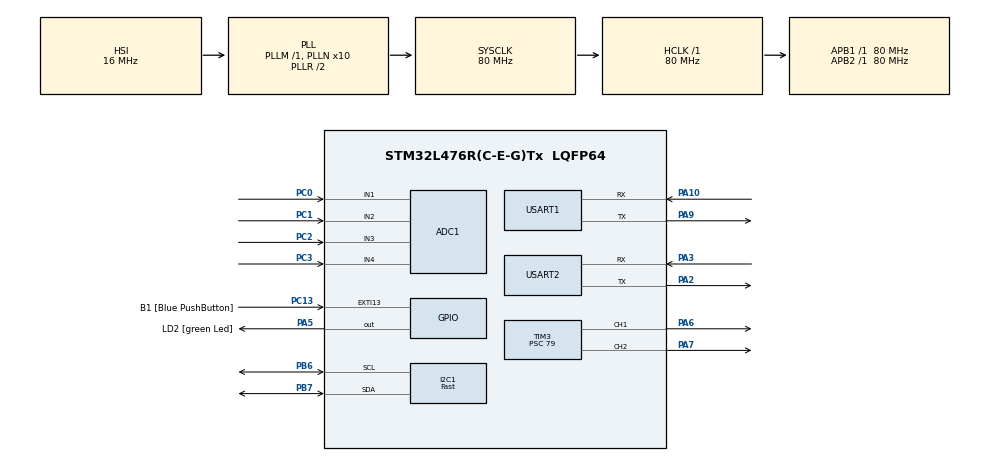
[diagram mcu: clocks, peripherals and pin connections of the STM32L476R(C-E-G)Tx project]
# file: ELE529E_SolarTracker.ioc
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ADC1.Channel-0\#ChannelRegularConversion=ADC_CHANNEL_1
ADC1.Channel-1\#ChannelRegularConversion=ADC_CHANNEL_2
ADC1.Channel-2\#ChannelRegularConversion=ADC_CHANNEL_3
ADC1.Channel-3\#ChannelRegularConversion=ADC_CHANNEL_4
ADC1.ClockPrescaler=ADC_CLOCK_SYNC_PCLK_DIV2
ADC1.ContinuousConvMode=ENABLE
ADC1.DMAContinuousRequests=ENABLE
ADC1.EOCSelection=ADC_EOC_SEQ_CONV
ADC1.NbrOfConversion=4
ADC1.NbrOfConversionFlag=1
ADC1.OffsetNumber-0\#ChannelRegularConversion=ADC_OFFSET_NONE
ADC1.OffsetNumber-1\#ChannelRegularConversion=ADC_OFFSET_NONE
ADC1.OffsetNumber-2\#ChannelRegularConversion=ADC_OFFSET_NONE
ADC1.OffsetNumber-3\#ChannelRegularConversion=ADC_OFFSET_NONE
ADC1.Rank-0\#ChannelRegularConversion=1
ADC1.Rank-1\#ChannelRegularConversion=2
ADC1.Rank-2\#ChannelRegularConversion=3
ADC1.Rank-3\#ChannelRegularConversion=4
ADC1.SamplingTime-0\#ChannelRegularConversion=ADC_SAMPLETIME_640CYCLES_5
ADC1.SamplingTime-1\#ChannelRegularConversion=ADC_SAMPLETIME_640CYCLES_5
ADC1.SamplingTime-2\#ChannelRegularConversion=ADC_SAMPLETIME_640CYCLES_5
ADC1.SamplingTime-3\#ChannelRegularConversion=ADC_SAMPLETIME_640CYCLES_5
ADC1.master=1
Dma.ADC1.0.Direction=DMA_PERIPH_TO_MEMORY
Dma.ADC1.0.Instance=DMA1_Channel1
Dma.ADC1.0.MemDataAlignment=DMA_MDATAALIGN_HALFWORD
Dma.ADC1.0.MemInc=DMA_MINC_ENABLE
Dma.ADC1.0.Mode=DMA_CIRCULAR
Dma.ADC1.0.PeriphDataAlignment=DMA_PDATAALIGN_HALFWORD
Dma.ADC1.0.PeriphInc=DMA_PINC_DISABLE
Dma.ADC1.0.Priority=DMA_PRIORITY_LOW
Dma.Request0=ADC1
FREERTOS.Mutexes01=I2C_Mutex,Dynamic,NULL,Available;UART_Mutex,Dynamic,NULL,Available;LDR_Data_Mutex,Dynamic,NULL,Available
FREERTOS.Tasks01=defaultTask,0,128,StartDefaultTask,Default,NULL,Dynamic,NULL,NULL;DataAcqTask,0,128,StartTask02,Default,NULL,Dynamic,NULL,NULL;ControlTask,0,128,StartTask03,Default,NULL,Dynamic,NULL,NULL;CommTask,0,128,StartTask04,Default,NULL,Dynamic,NULL,NULL
FREERTOS.configUSE_NEWLIB_REENTRANT=1
I2C1.I2C_Speed_Mode=I2C_Fast
I2C1.Timing=0x00F12981
Mcu.Family=STM32L4
Mcu.Name=STM32L476R(C-E-G)Tx
Mcu.Package=LQFP64
NVIC.DMA1_Channel1_IRQn=true\:5\:0\:false\:false\:true\:true\:false\:true\:true
NVIC.PriorityGroup=NVIC_PRIORITYGROUP_4
NVIC.TIM6_DAC_IRQn=true\:15\:0\:false\:false\:true\:false\:false\:true\:true
NVIC.TimeBase=TIM6_DAC_IRQn
NVIC.TimeBaseIP=TIM6
PA0.Signal=ADCx_IN5
PA1.Signal=ADCx_IN6
PA10.Mode=Asynchronous
PA10.Signal=USART1_RX
PA13\ (JTMS-SWDIO).GPIO_Label=TMS
PA13\ (JTMS-SWDIO).Mode=Serial_Wire
PA13\ (JTMS-SWDIO).Signal=SYS_JTMS-SWDIO
PA14\ (JTCK-SWCLK).GPIO_Label=TCK
PA14\ (JTCK-SWCLK).Mode=Serial_Wire
PA14\ (JTCK-SWCLK).Signal=SYS_JTCK-SWCLK
PA2.Mode=Asynchronous
PA2.Signal=USART2_TX
PA3.Mode=Asynchronous
PA3.Signal=USART2_RX
PA5.GPIO_Label=LD2 [green Led]
PA5.GPIO_ModeDefaultOutputPP=GPIO_MODE_OUTPUT_PP
PA5.GPIO_PuPd=GPIO_NOPULL
PA5.GPIO_Speed=GPIO_SPEED_FREQ_LOW
PA5.Signal=GPIO_Output
PA6.Signal=S_TIM3_CH1
PA7.Signal=S_TIM3_CH2
PA9.Mode=Asynchronous
PA9.Signal=USART1_TX
PB3\ (JTDO-TRACESWO).GPIO_Label=SWO
PB3\ (JTDO-TRACESWO).Signal=SYS_JTDO-SWO
PB6.Mode=I2C
PB6.Signal=I2C1_SCL
PB7.Mode=I2C
PB7.Signal=I2C1_SDA
PC0.Signal=ADCx_IN1
PC1.Signal=ADCx_IN2
PC13.GPIO_Label=B1 [Blue PushButton]
PC13.GPIO_ModeDefaultEXTI=GPIO_MODE_IT_FALLING
PC13.GPIO_PuPd=GPIO_NOPULL
PC13.Signal=GPXTI13
PC14-OSC32_IN\ (PC14).Mode=LSE-External-Oscillator
PC14-OSC32_IN\ (PC14).Signal=RCC_OSC32_IN
PC15-OSC32_OUT\ (PC15).Mode=LSE-External-Oscillator
PC15-OSC32_OUT\ (PC15).Signal=RCC_OSC32_OUT
PC2.Signal=ADCx_IN3
PC3.Signal=ADCx_IN4
PH0-OSC_IN\ (PH0).Signal=RCC_OSC_IN
PH1-OSC_OUT\ (PH1).Signal=RCC_OSC_OUT
ProjectManager.HeapSize=0x200
ProjectManager.StackSize=0x400
ProjectManager.TargetToolchain=STM32CubeIDE
RCC.ADCFreq_Value=64000000
RCC.AHBFreq_Value=80000000
RCC.APB1Freq_Value=80000000
RCC.APB1TimFreq_Value=80000000
RCC.APB2Freq_Value=80000000
RCC.APB2TimFreq_Value=80000000
RCC.CortexFreq_Value=80000000
RCC.HCLKFreq_Value=80000000
RCC.HSE_VALUE=8000000
RCC.HSI_VALUE=16000000
RCC.MSI_VALUE=4000000
RCC.PLLN=10
RCC.PLLSourceVirtual=RCC_PLLSOURCE_HSI
RCC.PREFETCH_ENABLE=1
RCC.SYSCLKFreq_VALUE=80000000
RCC.SYSCLKSource=RCC_SYSCLKSOURCE_PLLCLK
RCC.USBFreq_Value=64000000
RCC.VCOOutputFreq_Value=160000000
SH.ADCx_IN1.0=ADC1_IN1,IN1-Single-Ended
SH.ADCx_IN2.0=ADC1_IN2,IN2-Single-Ended
SH.ADCx_IN3.0=ADC1_IN3,IN3-Single-Ended
SH.ADCx_IN4.0=ADC1_IN4,IN4-Single-Ended
SH.ADCx_IN5.0=ADC1_IN5
SH.ADCx_IN6.0=ADC1_IN6
SH.S_TIM3_CH1.0=TIM3_CH1,PWM Generation1 CH1
SH.S_TIM3_CH2.0=TIM3_CH2,PWM Generation2 CH2
TIM2.Period=19999
TIM2.Prescaler=79
TIM3.Channel-PWM\ Generation1\ CH1=TIM_CHANNEL_1
TIM3.Channel-PWM\ Generation2\ CH2=TIM_CHANNEL_2
TIM3.Period=19999
TIM3.Prescaler=79
USART1.VirtualMode-Asynchronous=VM_ASYNC
USART2.VirtualMode-Asynchronous=VM_ASYNC
VP_FREERTOS_VS_CMSIS_V1.Mode=CMSIS_V1
VP_IWDG_VS_IWDG.Mode=IWDG_Activate
VP_SYS_VS_tim6.Mode=TIM6
VP_TIM2_VS_ClockSourceINT.Mode=Internal
VP_TIM3_VS_ClockSourceINT.Mode=Internal
board=NUCLEO-L476RG

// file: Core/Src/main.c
/* USER CODE BEGIN Header */
/**
 ******************************************************************************
 * @file           : main.c
 * @brief          : Main program body
 ******************************************************************************
 * @attention
 *
 * Copyright (c) 2026 STMicroelectronics.
 * All rights reserved.
 *
 * This software is licensed under terms that can be found in the LICENSE file
 * in the root directory of this software component.
 * If no LICENSE file comes with this software, it is provided AS-IS.
 *
 ******************************************************************************
 */
/* USER CODE END Header */
#include "main.h"
#include "cmsis_os.h"
#include "adc.h"
#include "dma.h"
#include "i2c.h"
#include "iwdg.h"
#include "tim.h"
#include "usart.h"
#include "gpio.h"

/* USER CODE BEGIN Includes */
#include <stdlib.h>  // abs() fonksiyonu için
#include "filter.h"
/* USER CODE END Includes */

/* USER CODE BEGIN PV */
uint16_t ldr_values[4]; 		  // 4 LDR verisi burada saklanacak
float filtered_ldr[4] = { 0 };    // Filtrelenmiş temiz veriler
float alpha = 0.1f;               // Filtre katsayısı (0.0 ile 1.0 arası)
uint16_t servo_h = 90; 			  // Yatay servo başlangıç açısı (90 derece)
uint16_t servo_v = 90; 			  // Dikey servo başlangıç açısı (90 derece)
uint16_t ldr_raw_values[4];
uint8_t pc_rx_byte;

extern float system_voltage;

/* USER CODE END PV */

void SystemClock_Config(void);
void MX_FREERTOS_Init(void);

int main(void)
{

  /* MCU Configuration--------------------------------------------------------*/

  /* Reset of all peripherals, Initializes the Flash interface and the Systick. */
  HAL_Init();

  /* Configure the system clock */
  SystemClock_Config();

  /* Initialize all configured peripherals */
  MX_GPIO_Init();
  MX_DMA_Init();
  MX_ADC1_Init();
  MX_TIM2_Init();
  MX_I2C1_Init();
  MX_IWDG_Init();
  MX_USART1_UART_Init();
  MX_USART2_UART_Init();
  MX_TIM3_Init();
  /* USER CODE BEGIN 2 */
	HAL_ADC_Start_DMA(&hadc1, (uint32_t*)ldr_values, 4); //ADC1'i başlat, 4 kanalı sırayla oku ve bu değerleri ldr_values dizisine otomatik olarak yaz.
	HAL_TIM_PWM_Start(&htim3, TIM_CHANNEL_1); // Yatay Servo PWM Başlat
	HAL_TIM_PWM_Start(&htim3, TIM_CHANNEL_2); // Dikey Servo PWM Başlat
  /* USER CODE END 2 */

  /* Call init function for freertos objects (in cmsis_os2.c) */
  MX_FREERTOS_Init();

  /* Start scheduler */
  osKernelStart();

  /* We should never get here as control is now taken by the scheduler */

  /* Infinite loop */
	while (1) {

	}
}

void SystemClock_Config(void)
{
  RCC_OscInitTypeDef RCC_OscInitStruct = {0};
  RCC_ClkInitTypeDef RCC_ClkInitStruct = {0};

  /** Configure the main internal regulator output voltage
  */
  if (HAL_PWREx_ControlVoltageScaling(PWR_REGULATOR_VOLTAGE_SCALE1) != HAL_OK)
  {
    Error_Handler();
  }

  /** Initializes the RCC Oscillators according to the specified parameters
  * in the RCC_OscInitTypeDef structure.
  */
  RCC_OscInitStruct.OscillatorType = RCC_OSCILLATORTYPE_HSI|RCC_OSCILLATORTYPE_LSI;
  RCC_OscInitStruct.HSIState = RCC_HSI_ON;
  RCC_OscInitStruct.HSICalibrationValue = RCC_HSICALIBRATION_DEFAULT;
  RCC_OscInitStruct.LSIState = RCC_LSI_ON;
  RCC_OscInitStruct.PLL.PLLState = RCC_PLL_ON;
  RCC_OscInitStruct.PLL.PLLSource = RCC_PLLSOURCE_HSI;
  RCC_OscInitStruct.PLL.PLLM = 1;
  RCC_OscInitStruct.PLL.PLLN = 10;
  RCC_OscInitStruct.PLL.PLLP = RCC_PLLP_DIV7;
  RCC_OscInitStruct.PLL.PLLQ = RCC_PLLQ_DIV2;
  RCC_OscInitStruct.PLL.PLLR = RCC_PLLR_DIV2;
  if (HAL_RCC_OscConfig(&RCC_OscInitStruct) != HAL_OK)
  {
    Error_Handler();
  }

  /** Initializes the CPU, AHB and APB buses clocks
  */
  RCC_ClkInitStruct.ClockType = RCC_CLOCKTYPE_HCLK|RCC_CLOCKTYPE_SYSCLK
                              |RCC_CLOCKTYPE_PCLK1|RCC_CLOCKTYPE_PCLK2;
  RCC_ClkInitStruct.SYSCLKSource = RCC_SYSCLKSOURCE_PLLCLK;
  RCC_ClkInitStruct.AHBCLKDivider = RCC_SYSCLK_DIV1;
  RCC_ClkInitStruct.APB1CLKDivider = RCC_HCLK_DIV1;
  RCC_ClkInitStruct.APB2CLKDivider = RCC_HCLK_DIV1;

  if (HAL_RCC_ClockConfig(&RCC_ClkInitStruct, FLASH_LATENCY_4) != HAL_OK)
  {
    Error_Handler();
  }
}

void HAL_TIM_PeriodElapsedCallback(TIM_HandleTypeDef *htim)
{
  if (htim->Instance == TIM6)
  {
    HAL_IncTick();
  }
}

void Error_Handler(void)
{
	__disable_irq();
	while (1) {
	}
}

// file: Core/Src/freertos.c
/* USER CODE BEGIN Header */
/**
 ******************************************************************************
 * File Name          : freertos.c
 * Description        : Code for freertos applications
 ******************************************************************************
 * @attention
 *
 * Copyright (c) 2026 STMicroelectronics.
 * All rights reserved.
 *
 * This software is licensed under terms that can be found in the LICENSE file
 * in the root directory of this software component.
 * If no LICENSE file comes with this software, it is provided AS-IS.
 *
 ******************************************************************************
 */
/* USER CODE END Header */

#include "FreeRTOS.h"
#include "task.h"
#include "main.h"
#include "cmsis_os.h"

/* USER CODE BEGIN Includes */
#include "filter.h"
#include "ina219.h"
#include "esp8266.h"
#include "usart.h"
#include <string.h>
extern IWDG_HandleTypeDef hiwdg;
#include <stdio.h> // sprintf için
#include <math.h> // fabs() mutlak değer fonksiyonu için eklendi
/* USER CODE END Includes */

/* USER CODE BEGIN Variables */
// LDR DMA Okuma Tamponu (CubeMX'te Data Width: Half Word seçtiğimiz için uint16_t)
extern uint16_t ldr_values[4];

// Tasklar arası paylaşılacak filtrelenmiş veriler
float ldr_filtered[4] = { 0.0f, 0.0f, 0.0f, 0.0f };

// Güç tüketimi verileri
float system_voltage = 0.0f;
float system_current = 0.0f;

// Watchdog timer (IWDG) referansı
extern IWDG_HandleTypeDef hiwdg;

// Servo Motor Timer referansı (Örn: TIM2. Kendi konfigürasyonunuza göre değiştirin)
extern TIM_HandleTypeDef htim3;

/* USER CODE END Variables */

// Veri güvenliği için Mutex handle'ları
osThreadId defaultTaskHandle;
osThreadId DataAcqTaskHandle;
osThreadId ControlTaskHandle;
osThreadId CommTaskHandle;
osMutexId I2C_MutexHandle;
osMutexId UART_MutexHandle;
osMutexId LDR_Data_MutexHandle;

void StartDefaultTask(void const * argument);
void StartTask02(void const * argument);
void StartTask03(void const * argument);
void StartTask04(void const * argument);

void MX_FREERTOS_Init(void); /* (MISRA C 2004 rule 8.1) */

/* GetIdleTaskMemory prototype (linked to static allocation support) */
void vApplicationGetIdleTaskMemory( StaticTask_t **ppxIdleTaskTCBBuffer, StackType_t **ppxIdleTaskStackBuffer, uint32_t *pulIdleTaskStackSize );

/* USER CODE BEGIN GET_IDLE_TASK_MEMORY */
static StaticTask_t xIdleTaskTCBBuffer;
static StackType_t xIdleStack[configMINIMAL_STACK_SIZE];

void vApplicationGetIdleTaskMemory(StaticTask_t **ppxIdleTaskTCBBuffer,
		StackType_t **ppxIdleTaskStackBuffer, uint32_t *pulIdleTaskStackSize) {
	*ppxIdleTaskTCBBuffer = &xIdleTaskTCBBuffer;
	*ppxIdleTaskStackBuffer = &xIdleStack[0];
	*pulIdleTaskStackSize = configMINIMAL_STACK_SIZE;
	/* place for user code */
}
/* USER CODE END GET_IDLE_TASK_MEMORY */

void MX_FREERTOS_Init(void) {
  /* Create the mutex(es) */
  /* definition and creation of I2C_Mutex */
  osMutexDef(I2C_Mutex);
  I2C_MutexHandle = osMutexCreate(osMutex(I2C_Mutex));

  /* definition and creation of UART_Mutex */
  osMutexDef(UART_Mutex);
  UART_MutexHandle = osMutexCreate(osMutex(UART_Mutex));

  /* definition and creation of LDR_Data_Mutex */
  osMutexDef(LDR_Data_Mutex);
  LDR_Data_MutexHandle = osMutexCreate(osMutex(LDR_Data_Mutex));

  /* Create the thread(s) */
  /* definition and creation of defaultTask */
  osThreadDef(defaultTask, StartDefaultTask, osPriorityNormal, 0, 128);
  defaultTaskHandle = osThreadCreate(osThread(defaultTask), NULL);

  /* definition and creation of DataAcqTask */
  osThreadDef(DataAcqTask, StartTask02, osPriorityNormal, 0, 128);
  DataAcqTaskHandle = osThreadCreate(osThread(DataAcqTask), NULL);

  /* definition and creation of ControlTask */
  osThreadDef(ControlTask, StartTask03, osPriorityNormal, 0, 128);
  ControlTaskHandle = osThreadCreate(osThread(ControlTask), NULL);

  /* definition and creation of CommTask */
  osThreadDef(CommTask, StartTask04, osPriorityNormal, 0, 128);
  CommTaskHandle = osThreadCreate(osThread(CommTask), NULL);

}

void StartDefaultTask(void const * argument)
{
  /* USER CODE BEGIN StartDefaultTask */
	/* Infinite loop */
	for (;;) {
		// Tüm tasklar "hayattayım" bayrağı gönderdi mi kontrolü yapılabilir.
		// Şimdilik en azından tek bir güvenilir noktadan besleyin:
		HAL_IWDG_Refresh(&hiwdg);

		// Memory Optimization: Stack kullanımını izle (Hoca'nın istediği analiz)
		// uint32_t freeStack = uxTaskGetStackHighWaterMark(DataAcqTaskHandle);

		osDelay(100);
	}
  /* USER CODE END StartDefaultTask */
}

void StartTask02(void const * argument)
{
  /* USER CODE BEGIN StartTask02 */

    static uint32_t counter = 0;
    if (counter++ % 100 == 0) {
        char msg[] = "Task02 alive\r\n";
        HAL_UART_Transmit(&huart2, (uint8_t*)msg, strlen(msg), 100);
    }

    static int test_val = 0;

    INA219_Open(&hi2c1);
	/* Infinite loop */
	for (;;) {
		// 1. I2C Okuması (Güneş Paneli Voltajı)
		    if (osMutexWait(I2C_MutexHandle, 10) == osOK) {
		        // Senin sürücün IOCTL kullanıyor:
		        INA219_Ioctl(INA219_IOCTL_GET_VOLTAGE, &system_voltage);
		        osMutexRelease(I2C_MutexHandle);
		    }

		    // 2. LDR Veri İşleme
		    if (osMutexWait(LDR_Data_MutexHandle, 10) == osOK) {
		        for (int i = 0; i < 4; i++) {
		            ldr_filtered[i] = apply_adaptive_ema_filter((float)ldr_values[i], ldr_filtered[i]);
		        }
		        osMutexRelease(LDR_Data_MutexHandle);
		    }
		    osDelay(50);
	}

  /* USER CODE END StartTask02 */
}

void StartTask03(void const * argument)
{
  /* USER CODE BEGIN StartTask03 */

	// PWM Sinyallerini Başlat
	HAL_TIM_PWM_Start(&htim3, TIM_CHANNEL_1);
	HAL_TIM_PWM_Start(&htim3, TIM_CHANNEL_2);

	// Servoların başlangıç açıları
	uint32_t servo_pan = 1500;
	uint32_t servo_tilt = 1500;

	// DİKKAT: Motorlar ışığa çok daha kolay tepki versin diye eşik 20'ye düşürüldü!
	const float ERROR_THRESHOLD = 20.0f;

	/* Infinite loop */
	for (;;) {
		float local_ldr[4];

		// RESOURCE PROTECTION: Okuma yaparken kilitle
		if (osMutexWait(LDR_Data_MutexHandle, 10) == osOK) {
			memcpy(local_ldr, ldr_filtered, sizeof(ldr_filtered));
			osMutexRelease(LDR_Data_MutexHandle);
		}

		float top_avg   = (local_ldr[0] + local_ldr[1]) / 2.0f;
		float bot_avg   = (local_ldr[2] + local_ldr[3]) / 2.0f;
		float left_avg  = (local_ldr[0] + local_ldr[2]) / 2.0f;
		float right_avg = (local_ldr[1] + local_ldr[3]) / 2.0f;

		float err_tilt = top_avg - bot_avg;
		float err_pan = left_avg - right_avg;

		if (fabs(err_tilt) > ERROR_THRESHOLD) {
			if (err_tilt > 0)
				servo_tilt -= 5;
			else
				servo_tilt += 5;
		}

		if (fabs(err_pan) > ERROR_THRESHOLD) {
			if (err_pan > 0)
				servo_pan -= 5;
			else
				servo_pan += 5;
		}

		if (servo_pan > 2500)
			servo_pan = 2500;
		if (servo_pan < 500)
			servo_pan = 500;
		if (servo_tilt > 2500)
			servo_tilt = 2500;
		if (servo_tilt < 500)
			servo_tilt = 500;

		__HAL_TIM_SET_COMPARE(&htim3, TIM_CHANNEL_1, servo_pan);
		__HAL_TIM_SET_COMPARE(&htim3, TIM_CHANNEL_2, servo_tilt);

//        // Watchdog besle
//        HAL_IWDG_Refresh(&hiwdg);
		osDelay(50);
	}
  /* USER CODE END StartTask03 */
}

void StartTask04(void const * argument)
{
  /* USER CODE BEGIN StartTask04 */

	uint8_t tx_buf[12]; // [Header, L1_High, L1_Low, ..., Checksum, Footer]
	tx_buf[0] = 0xAA;    // Start Byte
	tx_buf[11] = 0x55;   // End Byte

	/* Infinite loop */
	for (;;) {
		// Protokol oluşturma
		// RESOURCE PROTECTION: ldr_filtered verisini okumadan önce kilitle
		    if (osMutexWait(LDR_Data_MutexHandle, 10) == osOK) {

		        // LDR1
		        tx_buf[1] = (uint8_t)((uint16_t)ldr_filtered[0] >> 8);
		        tx_buf[2] = (uint8_t)((uint16_t)ldr_filtered[0] & 0xFF);
		        // LDR2
		        tx_buf[3] = (uint8_t)((uint16_t)ldr_filtered[1] >> 8);
		        tx_buf[4] = (uint8_t)((uint16_t)ldr_filtered[1] & 0xFF);
		        // LDR3
		        tx_buf[5] = (uint8_t)((uint16_t)ldr_filtered[2] >> 8);
		        tx_buf[6] = (uint8_t)((uint16_t)ldr_filtered[2] & 0xFF);
		        // LDR4
		        tx_buf[7] = (uint8_t)((uint16_t)ldr_filtered[3] >> 8);
		        tx_buf[8] = (uint8_t)((uint16_t)ldr_filtered[3] & 0xFF);

		        // İşlem bitti, Mutex'i hemen serbest bırak
		        osMutexRelease(LDR_Data_MutexHandle);
		    }
	// Basit bir Checksum ekle (Hoca'nın "detaylandırılmalı" dediği kısım)
	uint8_t checksum = 0;
	for(int i=1; i<9; i++) checksum += tx_buf[i];
	tx_buf[10] = checksum;

	// Veriyi UART üzerinden gönder
	HAL_UART_Transmit(&huart2, tx_buf, 12, 100);

	osDelay(100); // 10Hz haberleşme hızı
	}
  /* USER CODE END StartTask04 */
}
